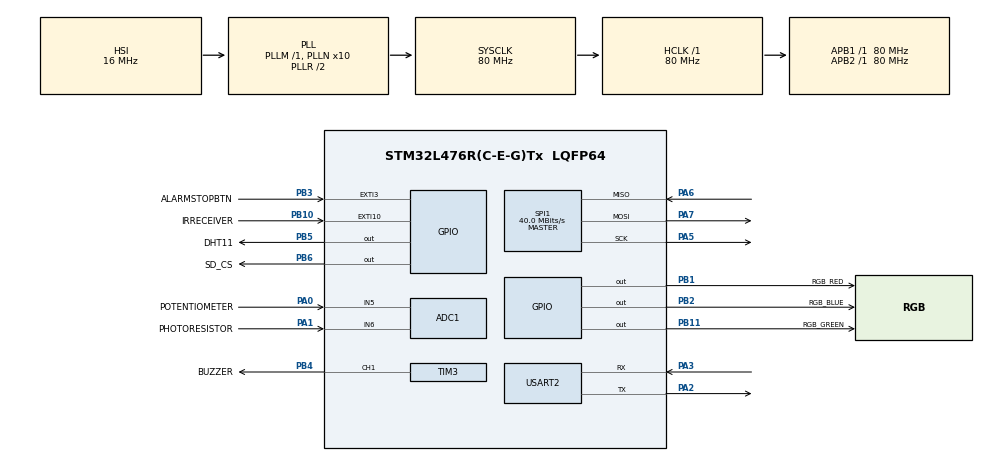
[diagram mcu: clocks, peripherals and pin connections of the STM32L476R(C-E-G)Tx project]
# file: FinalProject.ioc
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ADC1.Channel-1\#ChannelRegularConversion=ADC_CHANNEL_5
ADC1.NbrOfConversionFlag=1
ADC1.OffsetNumber-1\#ChannelRegularConversion=ADC_OFFSET_NONE
ADC1.Rank-1\#ChannelRegularConversion=1
ADC1.SamplingTime-1\#ChannelRegularConversion=ADC_SAMPLETIME_2CYCLES_5
ADC1.master=1
FATFS._MAX_LFN=32
FATFS._USE_LFN=2
FREERTOS.Mutexes01=xConfigMutex,Dynamic,NULL,Available;xLogMutex,Dynamic,NULL,Available;xMonitorCacheMutex,Dynamic,NULL,Available
FREERTOS.Queues01=xEventQueue,16,uint16_t,0,Dynamic,NULL,NULL;xKeepAliveTxQueue,16,uint16_t,0,Dynamic,NULL,NULL;xEventTxQueue,16,uint16_t,0,Dynamic,NULL,NULL;xDataReportTxQueue,16,uint16_t,0,Dynamic,NULL,NULL
FREERTOS.Tasks01=WatchdogTask,47,128,vWatchdogTask,Default,NULL,Dynamic,NULL,NULL;InitTask,44,128,vInitTask,Default,NULL,Dynamic,NULL,NULL;ObjectDetection,42,128,vObjectDetectionTask,Default,NULL,Dynamic,NULL,NULL;CommRxTask,41,512,vCommRxTask,Default,NULL,Dynamic,NULL,NULL;EventTask,37,512,vEventTask,Default,NULL,Dynamic,NULL,NULL;CommTxTask,32,512,vCommTxTask,Default,NULL,Dynamic,NULL,NULL;MonitorTask,33,512,vMonitorTask,Default,NULL,Dynamic,NULL,NULL;KeepAliveTask,24,256,vKeepAliveTask,Default,NULL,Dynamic,NULL,NULL
FREERTOS.configTOTAL_HEAP_SIZE=16384
FREERTOS.configUSE_NEWLIB_REENTRANT=1
IWDG.Prescaler=IWDG_PRESCALER_64
IWDG.Reload=1999
Mcu.Family=STM32L4
Mcu.Name=STM32L476R(C-E-G)Tx
Mcu.Package=LQFP64
NVIC.EXTI15_10_IRQn=true\:5\:0\:false\:false\:true\:true\:true\:true\:true
NVIC.EXTI3_IRQn=true\:5\:0\:false\:false\:true\:true\:true\:true\:true
NVIC.PriorityGroup=NVIC_PRIORITYGROUP_4
NVIC.TIM7_IRQn=true\:15\:0\:false\:false\:true\:false\:false\:true\:true
NVIC.TimeBase=TIM7_IRQn
NVIC.TimeBaseIP=TIM7
NVIC.USART2_IRQn=true\:5\:0\:false\:false\:true\:true\:true\:true\:true
PA0.GPIO_Label=POTENTIOMETER
PA0.Signal=ADCx_IN5
PA1.GPIO_Label=PHOTORESISTOR
PA1.Signal=ADCx_IN6
PA2.Mode=Asynchronous
PA2.Signal=USART2_TX
PA3.Mode=Asynchronous
PA3.Signal=USART2_RX
PA5.Mode=Full_Duplex_Master
PA5.Signal=SPI1_SCK
PA6.GPIO_PuPd=GPIO_PULLUP
PA6.Mode=Full_Duplex_Master
PA6.Signal=SPI1_MISO
PA7.Mode=Full_Duplex_Master
PA7.Signal=SPI1_MOSI
PB1.GPIO_Label=RGB_RED
PB1.Signal=GPIO_Output
PB10.GPIO_Label=IRRECEIVER
PB10.GPIO_ModeDefaultEXTI=GPIO_MODE_IT_RISING_FALLING
PB10.Signal=GPXTI10
PB11.GPIO_Label=RGB_GREEN
PB11.Signal=GPIO_Output
PB2.GPIO_Label=RGB_BLUE
PB2.Signal=GPIO_Output
PB3\ (JTDO-TRACESWO).GPIO_Label=ALARMSTOPBTN
PB3\ (JTDO-TRACESWO).GPIO_ModeDefaultEXTI=GPIO_MODE_IT_FALLING
PB3\ (JTDO-TRACESWO).GPIO_PuPd=GPIO_PULLUP
PB3\ (JTDO-TRACESWO).Signal=GPXTI3
PB4\ (NJTRST).GPIO_Label=BUZZER
PB4\ (NJTRST).Signal=S_TIM3_CH1
PB5.GPIO_Label=DHT11
PB5.GPIO_PuPd=GPIO_PULLUP
PB5.PinState=GPIO_PIN_SET
PB5.Signal=GPIO_Output
PB6.GPIO_Label=SD_CS
PB6.PinState=GPIO_PIN_SET
PB6.Signal=GPIO_Output
ProjectManager.HeapSize=0x200
ProjectManager.StackSize=0x400
ProjectManager.TargetToolchain=STM32CubeIDE
RCC.ADCFreq_Value=64000000
RCC.AHBFreq_Value=80000000
RCC.APB1Freq_Value=80000000
RCC.APB1TimFreq_Value=80000000
RCC.APB2Freq_Value=80000000
RCC.APB2TimFreq_Value=80000000
RCC.CortexFreq_Value=80000000
RCC.HCLKFreq_Value=80000000
RCC.HSE_VALUE=8000000
RCC.HSI_VALUE=16000000
RCC.LSE_VALUE=32768
RCC.MSI_VALUE=4000000
RCC.PLLN=10
RCC.PLLSourceVirtual=RCC_PLLSOURCE_HSI
RCC.SYSCLKFreq_VALUE=80000000
RCC.SYSCLKSource=RCC_SYSCLKSOURCE_PLLCLK
RCC.USBFreq_Value=64000000
RCC.VCOOutputFreq_Value=160000000
SH.ADCx_IN5.0=ADC1_IN5,IN5-Single-Ended
SH.ADCx_IN6.0=ADC1_IN6,IN6-Single-Ended
SH.S_TIM3_CH1.0=TIM3_CH1,PWM Generation1 CH1
SPI1.CalculateBaudRate=40.0 MBits/s
SPI1.DataSize=SPI_DATASIZE_8BIT
SPI1.Direction=SPI_DIRECTION_2LINES
SPI1.Mode=SPI_MODE_MASTER
SPI1.VirtualType=VM_MASTER
TIM3.Channel-PWM\ Generation1\ CH1=TIM_CHANNEL_1
TIM3.Period=499
TIM3.Prescaler=79
TIM3.Pulse-PWM\ Generation1\ CH1=25
TIM6.Prescaler=79
USART2.VirtualMode-Asynchronous=VM_ASYNC
VP_FATFS_VS_Generic.Mode=User_defined
VP_FREERTOS_VS_CMSIS_V2.Mode=CMSIS_V2
VP_IWDG_VS_IWDG.Mode=IWDG_Activate
VP_RTC_VS_RTC_Activate.Mode=RTC_Enabled
VP_RTC_VS_RTC_Calendar.Mode=RTC_Calendar
VP_SYS_VS_tim7.Mode=TIM7
VP_TIM6_VS_ClockSourceINT.Mode=Enable_Timer
board=custom

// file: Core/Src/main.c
/* USER CODE BEGIN Header */
/**
  ******************************************************************************
  * @file           : main.c
  * @brief          : Main program body
  ******************************************************************************
  * @attention
  *
  * Copyright (c) 2026 STMicroelectronics.
  * All rights reserved.
  *
  * This software is licensed under terms that can be found in the LICENSE file
  * in the root directory of this software component.
  * If no LICENSE file comes with this software, it is provided AS-IS.
  *
  ******************************************************************************
  */
/* USER CODE END Header */
#include "main.h"
#include "cmsis_os.h"
#include "fatfs.h"

/* USER CODE BEGIN Includes */
#include "transport.h"
#include "protocol.h"
#include "event.h"
#include "object_detection.h"
#include "config.h"
#include "log.h"
#include "rtc_util.h"
#include "comm.h"
#include "retrieval.h"

#include <stdbool.h>
#include <string.h>
/* USER CODE END Includes */

ADC_HandleTypeDef hadc1;

IWDG_HandleTypeDef hiwdg;

RTC_HandleTypeDef hrtc;

SPI_HandleTypeDef hspi1;

TIM_HandleTypeDef htim3;
TIM_HandleTypeDef htim6;

UART_HandleTypeDef huart2;

/* Definitions for WatchdogTask */
osThreadId_t WatchdogTaskHandle;
const osThreadAttr_t WatchdogTask_attributes = {
  .name = "WatchdogTask",
  .stack_size = 128 * 4,
  .priority = (osPriority_t) osPriorityHigh7,
};
/* Definitions for InitTask */
osThreadId_t InitTaskHandle;
const osThreadAttr_t InitTask_attributes = {
  .name = "InitTask",
  .stack_size = 128 * 4,
  .priority = (osPriority_t) osPriorityHigh4,
};
/* Definitions for ObjectDetection */
osThreadId_t ObjectDetectionHandle;
const osThreadAttr_t ObjectDetection_attributes = {
  .name = "ObjectDetection",
  .stack_size = 128 * 4,
  .priority = (osPriority_t) osPriorityHigh2,
};
/* Definitions for CommRxTask */
osThreadId_t CommRxTaskHandle;
const osThreadAttr_t CommRxTask_attributes = {
  .name = "CommRxTask",
  .stack_size = 512 * 4,
  .priority = (osPriority_t) osPriorityHigh1,
};
/* Definitions for EventTask */
osThreadId_t EventTaskHandle;
const osThreadAttr_t EventTask_attributes = {
  .name = "EventTask",
  .stack_size = 512 * 4,
  .priority = (osPriority_t) osPriorityAboveNormal5,
};
/* Definitions for CommTxTask */
osThreadId_t CommTxTaskHandle;
const osThreadAttr_t CommTxTask_attributes = {
  .name = "CommTxTask",
  .stack_size = 512 * 4,
  .priority = (osPriority_t) osPriorityAboveNormal,
};
/* Definitions for MonitorTask */
osThreadId_t MonitorTaskHandle;
const osThreadAttr_t MonitorTask_attributes = {
  .name = "MonitorTask",
  .stack_size = 512 * 4,
  .priority = (osPriority_t) osPriorityAboveNormal1,
};
/* Definitions for KeepAliveTask */
osThreadId_t KeepAliveTaskHandle;
const osThreadAttr_t KeepAliveTask_attributes = {
  .name = "KeepAliveTask",
  .stack_size = 256 * 4,
  .priority = (osPriority_t) osPriorityNormal,
};
/* Definitions for xEventQueue */
osMessageQueueId_t xEventQueueHandle;
const osMessageQueueAttr_t xEventQueue_attributes = {
  .name = "xEventQueue"
};
/* Definitions for xKeepAliveTxQueue */
osMessageQueueId_t xKeepAliveTxQueueHandle;
const osMessageQueueAttr_t xKeepAliveTxQueue_attributes = {
  .name = "xKeepAliveTxQueue"
};
/* Definitions for xEventTxQueue */
osMessageQueueId_t xEventTxQueueHandle;
const osMessageQueueAttr_t xEventTxQueue_attributes = {
  .name = "xEventTxQueue"
};
/* Definitions for xDataReportTxQueue */
osMessageQueueId_t xDataReportTxQueueHandle;
const osMessageQueueAttr_t xDataReportTxQueue_attributes = {
  .name = "xDataReportTxQueue"
};
/* Definitions for xConfigMutex */
osMutexId_t xConfigMutexHandle;
const osMutexAttr_t xConfigMutex_attributes = {
  .name = "xConfigMutex"
};
/* Definitions for xLogMutex */
osMutexId_t xLogMutexHandle;
const osMutexAttr_t xLogMutex_attributes = {
  .name = "xLogMutex"
};
/* Definitions for xMonitorCacheMutex */
osMutexId_t xMonitorCacheMutexHandle;
const osMutexAttr_t xMonitorCacheMutex_attributes = {
  .name = "xMonitorCacheMutex"
};
/* USER CODE BEGIN PV */
bool g_wasWatchdogReset = false;

/* USER CODE END PV */

void SystemClock_Config(void);
static void MX_GPIO_Init(void);
static void MX_USART2_UART_Init(void);
static void MX_ADC1_Init(void);
static void MX_TIM6_Init(void);
static void MX_TIM3_Init(void);
static void MX_SPI1_Init(void);
static void MX_RTC_Init(void);
static void MX_IWDG_Init(void);
void vWatchdogTask(void *argument);
void vInitTask(void *argument);
void vObjectDetectionTask(void *argument);
void vCommRxTask(void *argument);
void vEventTask(void *argument);
void vCommTxTask(void *argument);
void vMonitorTask(void *argument);
void vKeepAliveTask(void *argument);

int main(void)
{

  /* MCU Configuration--------------------------------------------------------*/

  /* Reset of all peripherals, Initializes the Flash interface and the Systick. */
  HAL_Init();

  /* Configure the system clock */
  SystemClock_Config();

  /* Initialize all configured peripherals */
  MX_GPIO_Init();
  MX_USART2_UART_Init();
  MX_ADC1_Init();
  MX_TIM6_Init();
  MX_TIM3_Init();
  MX_SPI1_Init();
  MX_FATFS_Init();
  MX_RTC_Init();
  MX_IWDG_Init();
  /* USER CODE BEGIN 2 */
  g_wasWatchdogReset = (__HAL_RCC_GET_FLAG(RCC_FLAG_IWDGRST) != RESET);
  __HAL_RCC_CLEAR_RESET_FLAGS();

  HAL_TIM_Base_Start(&htim6);

  f_mount(&USERFatFS, USERPath, 1);
  Log_Init();

  /* USER CODE END 2 */

  /* Init scheduler */
  osKernelInitialize();
  /* Create the mutex(es) */
  /* creation of xConfigMutex */
  xConfigMutexHandle = osMutexNew(&xConfigMutex_attributes);

  /* creation of xLogMutex */
  xLogMutexHandle = osMutexNew(&xLogMutex_attributes);

  /* creation of xMonitorCacheMutex */
  xMonitorCacheMutexHandle = osMutexNew(&xMonitorCacheMutex_attributes);

  /* Create the queue(s) */
  /* creation of xEventQueue */
  xEventQueueHandle = osMessageQueueNew (16, sizeof(uint16_t), &xEventQueue_attributes);

  /* creation of xKeepAliveTxQueue */
  xKeepAliveTxQueueHandle = osMessageQueueNew (16, sizeof(uint16_t), &xKeepAliveTxQueue_attributes);

  /* creation of xEventTxQueue */
  xEventTxQueueHandle = osMessageQueueNew (16, sizeof(uint16_t), &xEventTxQueue_attributes);

  /* creation of xDataReportTxQueue */
  xDataReportTxQueueHandle = osMessageQueueNew (16, sizeof(uint16_t), &xDataReportTxQueue_attributes);

  /* Create the thread(s) */
  /* creation of WatchdogTask */
  WatchdogTaskHandle = osThreadNew(vWatchdogTask, NULL, &WatchdogTask_attributes);

  /* creation of InitTask */
  InitTaskHandle = osThreadNew(vInitTask, NULL, &InitTask_attributes);

  /* creation of ObjectDetection */
  ObjectDetectionHandle = osThreadNew(vObjectDetectionTask, NULL, &ObjectDetection_attributes);

  /* creation of CommRxTask */
  CommRxTaskHandle = osThreadNew(vCommRxTask, NULL, &CommRxTask_attributes);

  /* creation of EventTask */
  EventTaskHandle = osThreadNew(vEventTask, NULL, &EventTask_attributes);

  /* creation of CommTxTask */
  CommTxTaskHandle = osThreadNew(vCommTxTask, NULL, &CommTxTask_attributes);

  /* creation of MonitorTask */
  MonitorTaskHandle = osThreadNew(vMonitorTask, NULL, &MonitorTask_attributes);

  /* creation of KeepAliveTask */
  KeepAliveTaskHandle = osThreadNew(vKeepAliveTask, NULL, &KeepAliveTask_attributes);

  /* Start scheduler */
  osKernelStart();

  /* We should never get here as control is now taken by the scheduler */

  /* Infinite loop */
  while (1)
  {

  }
}

void SystemClock_Config(void)
{
  RCC_OscInitTypeDef RCC_OscInitStruct = {0};
  RCC_ClkInitTypeDef RCC_ClkInitStruct = {0};

  /** Configure the main internal regulator output voltage
  */
  if (HAL_PWREx_ControlVoltageScaling(PWR_REGULATOR_VOLTAGE_SCALE1) != HAL_OK)
  {
    Error_Handler();
  }

  /** Initializes the RCC Oscillators according to the specified parameters
  * in the RCC_OscInitTypeDef structure.
  */
  RCC_OscInitStruct.OscillatorType = RCC_OSCILLATORTYPE_HSI|RCC_OSCILLATORTYPE_LSI;
  RCC_OscInitStruct.HSIState = RCC_HSI_ON;
  RCC_OscInitStruct.HSICalibrationValue = RCC_HSICALIBRATION_DEFAULT;
  RCC_OscInitStruct.LSIState = RCC_LSI_ON;
  RCC_OscInitStruct.PLL.PLLState = RCC_PLL_ON;
  RCC_OscInitStruct.PLL.PLLSource = RCC_PLLSOURCE_HSI;
  RCC_OscInitStruct.PLL.PLLM = 1;
  RCC_OscInitStruct.PLL.PLLN = 10;
  RCC_OscInitStruct.PLL.PLLP = RCC_PLLP_DIV7;
  RCC_OscInitStruct.PLL.PLLQ = RCC_PLLQ_DIV2;
  RCC_OscInitStruct.PLL.PLLR = RCC_PLLR_DIV2;
  if (HAL_RCC_OscConfig(&RCC_OscInitStruct) != HAL_OK)
  {
    Error_Handler();
  }

  /** Initializes the CPU, AHB and APB buses clocks
  */
  RCC_ClkInitStruct.ClockType = RCC_CLOCKTYPE_HCLK|RCC_CLOCKTYPE_SYSCLK
                              |RCC_CLOCKTYPE_PCLK1|RCC_CLOCKTYPE_PCLK2;
  RCC_ClkInitStruct.SYSCLKSource = RCC_SYSCLKSOURCE_PLLCLK;
  RCC_ClkInitStruct.AHBCLKDivider = RCC_SYSCLK_DIV1;
  RCC_ClkInitStruct.APB1CLKDivider = RCC_HCLK_DIV1;
  RCC_ClkInitStruct.APB2CLKDivider = RCC_HCLK_DIV1;

  if (HAL_RCC_ClockConfig(&RCC_ClkInitStruct, FLASH_LATENCY_4) != HAL_OK)
  {
    Error_Handler();
  }
}

static void MX_ADC1_Init(void)
{

  ADC_MultiModeTypeDef multimode = {0};
  ADC_ChannelConfTypeDef sConfig = {0};

  /** Common config
  */
  hadc1.Instance = ADC1;
  hadc1.Init.ClockPrescaler = ADC_CLOCK_ASYNC_DIV1;
  hadc1.Init.Resolution = ADC_RESOLUTION_12B;
  hadc1.Init.DataAlign = ADC_DATAALIGN_RIGHT;
  hadc1.Init.ScanConvMode = ADC_SCAN_DISABLE;
  hadc1.Init.EOCSelection = ADC_EOC_SINGLE_CONV;
  hadc1.Init.LowPowerAutoWait = DISABLE;
  hadc1.Init.ContinuousConvMode = DISABLE;
  hadc1.Init.NbrOfConversion = 1;
  hadc1.Init.DiscontinuousConvMode = DISABLE;
  hadc1.Init.ExternalTrigConv = ADC_SOFTWARE_START;
  hadc1.Init.ExternalTrigConvEdge = ADC_EXTERNALTRIGCONVEDGE_NONE;
  hadc1.Init.DMAContinuousRequests = DISABLE;
  hadc1.Init.Overrun = ADC_OVR_DATA_PRESERVED;
  hadc1.Init.OversamplingMode = DISABLE;
  if (HAL_ADC_Init(&hadc1) != HAL_OK)
  {
    Error_Handler();
  }

  /** Configure the ADC multi-mode
  */
  multimode.Mode = ADC_MODE_INDEPENDENT;
  if (HAL_ADCEx_MultiModeConfigChannel(&hadc1, &multimode) != HAL_OK)
  {
    Error_Handler();
  }

  /** Configure Regular Channel
  */
  sConfig.Channel = ADC_CHANNEL_5;
  sConfig.Rank = ADC_REGULAR_RANK_1;
  sConfig.SamplingTime = ADC_SAMPLETIME_2CYCLES_5;
  sConfig.SingleDiff = ADC_SINGLE_ENDED;
  sConfig.OffsetNumber = ADC_OFFSET_NONE;
  sConfig.Offset = 0;
  if (HAL_ADC_ConfigChannel(&hadc1, &sConfig) != HAL_OK)
  {
    Error_Handler();
  }

}

static void MX_IWDG_Init(void)
{

  hiwdg.Instance = IWDG;
  hiwdg.Init.Prescaler = IWDG_PRESCALER_64;
  hiwdg.Init.Window = 4095;
  hiwdg.Init.Reload = 1999;
  if (HAL_IWDG_Init(&hiwdg) != HAL_OK)
  {
    Error_Handler();
  }

}

static void MX_RTC_Init(void)
{

  RTC_TimeTypeDef sTime = {0};
  RTC_DateTypeDef sDate = {0};

  /** Initialize RTC Only
  */
  hrtc.Instance = RTC;
  hrtc.Init.HourFormat = RTC_HOURFORMAT_24;
  hrtc.Init.AsynchPrediv = 127;
  hrtc.Init.SynchPrediv = 255;
  hrtc.Init.OutPut = RTC_OUTPUT_DISABLE;
  hrtc.Init.OutPutRemap = RTC_OUTPUT_REMAP_NONE;
  hrtc.Init.OutPutPolarity = RTC_OUTPUT_POLARITY_HIGH;
  hrtc.Init.OutPutType = RTC_OUTPUT_TYPE_OPENDRAIN;
  if (HAL_RTC_Init(&hrtc) != HAL_OK)
  {
    Error_Handler();
  }

  /** Initialize RTC and set the Time and Date
  */
  sTime.Hours = 0x0;
  sTime.Minutes = 0x0;
  sTime.Seconds = 0x0;
  sTime.DayLightSaving = RTC_DAYLIGHTSAVING_NONE;
  sTime.StoreOperation = RTC_STOREOPERATION_RESET;
  if (HAL_RTC_SetTime(&hrtc, &sTime, RTC_FORMAT_BCD) != HAL_OK)
  {
    Error_Handler();
  }
  sDate.WeekDay = RTC_WEEKDAY_MONDAY;
  sDate.Month = RTC_MONTH_JANUARY;
  sDate.Date = 0x1;
  sDate.Year = 0x0;

  if (HAL_RTC_SetDate(&hrtc, &sDate, RTC_FORMAT_BCD) != HAL_OK)
  {
    Error_Handler();
  }

}

static void MX_SPI1_Init(void)
{

  /* SPI1 parameter configuration*/
  hspi1.Instance = SPI1;
  hspi1.Init.Mode = SPI_MODE_MASTER;
  hspi1.Init.Direction = SPI_DIRECTION_2LINES;
  hspi1.Init.DataSize = SPI_DATASIZE_8BIT;
  hspi1.Init.CLKPolarity = SPI_POLARITY_LOW;
  hspi1.Init.CLKPhase = SPI_PHASE_1EDGE;
  hspi1.Init.NSS = SPI_NSS_SOFT;
  hspi1.Init.BaudRatePrescaler = SPI_BAUDRATEPRESCALER_2;
  hspi1.Init.FirstBit = SPI_FIRSTBIT_MSB;
  hspi1.Init.TIMode = SPI_TIMODE_DISABLE;
  hspi1.Init.CRCCalculation = SPI_CRCCALCULATION_DISABLE;
  hspi1.Init.CRCPolynomial = 7;
  hspi1.Init.CRCLength = SPI_CRC_LENGTH_DATASIZE;
  hspi1.Init.NSSPMode = SPI_NSS_PULSE_ENABLE;
  if (HAL_SPI_Init(&hspi1) != HAL_OK)
  {
    Error_Handler();
  }

}

static void MX_TIM3_Init(void)
{

  TIM_MasterConfigTypeDef sMasterConfig = {0};
  TIM_OC_InitTypeDef sConfigOC = {0};

  htim3.Instance = TIM3;
  htim3.Init.Prescaler = 79;
  htim3.Init.CounterMode = TIM_COUNTERMODE_UP;
  htim3.Init.Period = 499;
  htim3.Init.ClockDivision = TIM_CLOCKDIVISION_DIV1;
  htim3.Init.AutoReloadPreload = TIM_AUTORELOAD_PRELOAD_DISABLE;
  if (HAL_TIM_PWM_Init(&htim3) != HAL_OK)
  {
    Error_Handler();
  }
  sMasterConfig.MasterOutputTrigger = TIM_TRGO_RESET;
  sMasterConfig.MasterSlaveMode = TIM_MASTERSLAVEMODE_DISABLE;
  if (HAL_TIMEx_MasterConfigSynchronization(&htim3, &sMasterConfig) != HAL_OK)
  {
    Error_Handler();
  }
  sConfigOC.OCMode = TIM_OCMODE_PWM1;
  sConfigOC.Pulse = 25;
  sConfigOC.OCPolarity = TIM_OCPOLARITY_HIGH;
  sConfigOC.OCFastMode = TIM_OCFAST_DISABLE;
  if (HAL_TIM_PWM_ConfigChannel(&htim3, &sConfigOC, TIM_CHANNEL_1) != HAL_OK)
  {
    Error_Handler();
  }
  HAL_TIM_MspPostInit(&htim3);

}

static void MX_TIM6_Init(void)
{

  TIM_MasterConfigTypeDef sMasterConfig = {0};

  htim6.Instance = TIM6;
  htim6.Init.Prescaler = 79;
  htim6.Init.CounterMode = TIM_COUNTERMODE_UP;
  htim6.Init.Period = 65535;
  htim6.Init.AutoReloadPreload = TIM_AUTORELOAD_PRELOAD_DISABLE;
  if (HAL_TIM_Base_Init(&htim6) != HAL_OK)
  {
    Error_Handler();
  }
  sMasterConfig.MasterOutputTrigger = TIM_TRGO_RESET;
  sMasterConfig.MasterSlaveMode = TIM_MASTERSLAVEMODE_DISABLE;
  if (HAL_TIMEx_MasterConfigSynchronization(&htim6, &sMasterConfig) != HAL_OK)
  {
    Error_Handler();
  }

}

static void MX_USART2_UART_Init(void)
{

  huart2.Instance = USART2;
  huart2.Init.BaudRate = 115200;
  huart2.Init.WordLength = UART_WORDLENGTH_8B;
  huart2.Init.StopBits = UART_STOPBITS_1;
  huart2.Init.Parity = UART_PARITY_NONE;
  huart2.Init.Mode = UART_MODE_TX_RX;
  huart2.Init.HwFlowCtl = UART_HWCONTROL_NONE;
  huart2.Init.OverSampling = UART_OVERSAMPLING_16;
  huart2.Init.OneBitSampling = UART_ONE_BIT_SAMPLE_DISABLE;
  huart2.AdvancedInit.AdvFeatureInit = UART_ADVFEATURE_NO_INIT;
  if (HAL_UART_Init(&huart2) != HAL_OK)
  {
    Error_Handler();
  }

}

static void MX_GPIO_Init(void)
{
  GPIO_InitTypeDef GPIO_InitStruct = {0};

  /* GPIO Ports Clock Enable */
  __HAL_RCC_GPIOA_CLK_ENABLE();
  __HAL_RCC_GPIOB_CLK_ENABLE();

  /*Configure GPIO pin Output Level */
  HAL_GPIO_WritePin(GPIOB, RGB_RED_Pin|RGB_BLUE_Pin|RGB_GREEN_Pin, GPIO_PIN_RESET);

  /*Configure GPIO pin Output Level */
  HAL_GPIO_WritePin(GPIOB, DHT11_Pin|SD_CS_Pin, GPIO_PIN_SET);

  /*Configure GPIO pins : RGB_RED_Pin RGB_BLUE_Pin RGB_GREEN_Pin SD_CS_Pin */
  GPIO_InitStruct.Pin = RGB_RED_Pin|RGB_BLUE_Pin|RGB_GREEN_Pin|SD_CS_Pin;
  GPIO_InitStruct.Mode = GPIO_MODE_OUTPUT_PP;
  GPIO_InitStruct.Pull = GPIO_NOPULL;
  GPIO_InitStruct.Speed = GPIO_SPEED_FREQ_LOW;
  HAL_GPIO_Init(GPIOB, &GPIO_InitStruct);

  /*Configure GPIO pin : IRRECEIVER_Pin */
  GPIO_InitStruct.Pin = IRRECEIVER_Pin;
  GPIO_InitStruct.Mode = GPIO_MODE_IT_RISING_FALLING;
  GPIO_InitStruct.Pull = GPIO_NOPULL;
  HAL_GPIO_Init(IRRECEIVER_GPIO_Port, &GPIO_InitStruct);

  /*Configure GPIO pin : ALARMSTOPBTN_Pin */
  GPIO_InitStruct.Pin = ALARMSTOPBTN_Pin;
  GPIO_InitStruct.Mode = GPIO_MODE_IT_FALLING;
  GPIO_InitStruct.Pull = GPIO_PULLUP;
  HAL_GPIO_Init(ALARMSTOPBTN_GPIO_Port, &GPIO_InitStruct);

  /*Configure GPIO pin : DHT11_Pin */
  GPIO_InitStruct.Pin = DHT11_Pin;
  GPIO_InitStruct.Mode = GPIO_MODE_OUTPUT_PP;
  GPIO_InitStruct.Pull = GPIO_PULLUP;
  GPIO_InitStruct.Speed = GPIO_SPEED_FREQ_LOW;
  HAL_GPIO_Init(DHT11_GPIO_Port, &GPIO_InitStruct);

  /* EXTI interrupt init*/
  HAL_NVIC_SetPriority(EXTI3_IRQn, 5, 0);
  HAL_NVIC_EnableIRQ(EXTI3_IRQn);

  HAL_NVIC_SetPriority(EXTI15_10_IRQn, 5, 0);
  HAL_NVIC_EnableIRQ(EXTI15_10_IRQn);

}

/* USER CODE BEGIN 4 */
/**
 * @brief Handle a GET_TIME_REQ: replies with GET_TIME_RESP carrying the
 * current value of g_lncClock.
 */

static void CommRx_HandleGetTime(void)
{
    uint8_t valueBuf[4];
    Protocol_PutU32(valueBuf, RtcUtil_GetUnixTime());

    uint8_t message[16];
    uint16_t messageLen;
    Protocol_EncodeTLV(PROTO_TAG_GET_TIME_RESP, valueBuf, 4, message, sizeof(message), &messageLen);

    uint8_t framed[40];
    uint16_t framedLen;
    Frame_Encode(message, messageLen, framed, sizeof(framed), &framedLen);
    Comm_SendEvent(framed, framedLen);
}

/**
 * @brief Handle a SET_RTC_REQ: overwrites g_lncClock with the request's
 * TIMESTAMP value, replies with CONFIG_ACK.
 * @param value Request's Value (a single TIMESTAMP field).
 * @param valueLen Length of value.
 */
static void CommRx_HandleSetRtc(const uint8_t *value, uint16_t valueLen)
{
    ProtoStatus_t status = PROTO_STATUS_SUCCESS;

    if (valueLen >= 4) {
        uint32_t unixTime;
        Protocol_GetU32(value, &unixTime);
        RtcUtil_SetFromUnixTime(unixTime);

    } else {
        status = PROTO_STATUS_INTERNAL_ERROR; /* malformed request value */
    }

    uint8_t valueBuf[1];
    valueBuf[0] = (uint8_t)status;

    uint8_t message[16];
    uint16_t messageLen;
    Protocol_EncodeTLV(PROTO_TAG_CONFIG_ACK, valueBuf, 1, message, sizeof(message), &messageLen);

    uint8_t framed[40];
    uint16_t framedLen;
    Frame_Encode(message, messageLen, framed, sizeof(framed), &framedLen);
    Comm_SendEvent(framed, framedLen);
}

static void CommRx_HandleSetConfig(uint8_t tag, const uint8_t *value, uint16_t valueLen)
{
    ProtoStatus_t status = Config_ApplyUpdate(tag, value, valueLen);

    uint8_t valueBuf[1];
    valueBuf[0] = (uint8_t)status;

    uint8_t message[16];
    uint16_t messageLen;
    Protocol_EncodeTLV(PROTO_TAG_CONFIG_ACK, valueBuf, 1, message, sizeof(message), &messageLen);

    uint8_t framed[40];
    uint16_t framedLen;
    Frame_Encode(message, messageLen, framed, sizeof(framed), &framedLen);
    Comm_SendEvent(framed, framedLen);
}

void HAL_GPIO_EXTI_Callback(uint16_t GPIO_Pin)
{
    if (GPIO_Pin == IRRECEIVER_Pin) {
        ObjectDetection_NotifyActivity();
    } else if (GPIO_Pin == ALARMSTOPBTN_Pin) {
        HAL_TIM_PWM_Stop(&htim3, TIM_CHANNEL_1);
    }
}

/* USER CODE END 4 */

void vWatchdogTask(void *argument)
{
  /* USER CODE BEGIN 5 */
	(void)argument;
  /* Infinite loop */
	  for (;;)
	  {
	    HAL_IWDG_Refresh(&hiwdg);
	    osDelay(500);
	  }
  /* USER CODE END 5 */
}

void vInitTask(void *argument)
{
  /* USER CODE BEGIN vInitTask */
    (void)argument;
  /* Infinite loop */
    Config_LoadFromFlash();

    Event_PostStartup(g_wasWatchdogReset);

    for(;;)
    {
        osDelay(1);
    }
  /* USER CODE END vInitTask */
}

void vObjectDetectionTask(void *argument)
{
  /* USER CODE BEGIN vObjectDetectionTask */
	(void)argument;
  /* Infinite loop */
    for (;;)
    {
        bool detected;
        bool changed = ObjectDetection_Poll(&detected);
        if (changed) {
            Event_PostObjectDetection(detected);
        }
        osDelay(200);
    }
  /* USER CODE END vObjectDetectionTask */
}

void vCommRxTask(void *argument)
{
  /* USER CODE BEGIN vCommRxTask */
  /* Infinite loop */
    (void)argument;
    Transport_Init();

    uint8_t rxBuf[64];
    uint16_t rxLen = 0;

    for (;;)
    {
        uint16_t n = Transport_Recv(rxBuf + rxLen, (uint16_t)(sizeof(rxBuf) - rxLen));
        rxLen = (uint16_t)(rxLen + n);

        if (rxLen > 0) {
            uint8_t payload[64];
            uint16_t payloadLen, consumed;
            ProtoResult_t r = Frame_Decode(rxBuf, rxLen, payload, sizeof(payload), &payloadLen, &consumed);

            if (r == PROTO_OK) {
                uint8_t tag;
                const uint8_t *value;
                uint16_t valueLen, msgConsumed;

                if (Protocol_DecodeTLV(payload, payloadLen, &tag, &value, &valueLen, &msgConsumed) == PROTO_OK) {
                    if (tag == PROTO_TAG_GET_TIME_REQ) {
                        CommRx_HandleGetTime();
                    }else if (tag == PROTO_TAG_SET_RTC_REQ) {
                        CommRx_HandleSetRtc(value, valueLen);
                    }else if (tag == PROTO_TAG_GET_MEASUREMENTS_REQ) {
                        Retrieval_HandleGetMeasurements(value, valueLen);
                    }else if (tag == PROTO_TAG_GET_EVENTS_REQ) {
                        Retrieval_HandleGetEvents(value, valueLen);
                    }else if (tag >= PROTO_TAG_SET_TEMP_NORMAL_RANGE && tag <= PROTO_TAG_SET_BATTERY_WARNING_MIN) {
                        CommRx_HandleSetConfig(tag, value, valueLen);
                    }

                }

                memmove(rxBuf, rxBuf + consumed, (size_t)(rxLen - consumed));
                rxLen = (uint16_t)(rxLen - consumed);
            } else if (r == PROTO_ERR_MALFORMED) {
                memmove(rxBuf, rxBuf + consumed, (size_t)(rxLen - consumed));
                rxLen = (uint16_t)(rxLen - consumed);
            } else if (r == PROTO_ERR_BUFFER_TOO_SMALL) {
                rxLen = 0;
            }
        }

        osDelay(10);
    }
  /* USER CODE END vCommRxTask */
}

void vEventTask(void *argument)
{
  /* USER CODE BEGIN vEventTask */
    (void)argument;

    /* Infinite loop */

    for (;;)
    {
        uint16_t slotIndex;
        if (osMessageQueueGet(xEventQueueHandle, &slotIndex, NULL, osWaitForever) == osOK) {
            EventMessage_t event;
            Event_GetPooled(slotIndex, &event);
            Log_WriteEvent(&event);

            if (event.source == PROTO_EVENT_SOURCE_MONITOR && event.type == PROTO_EVENT_TYPE_MODE_CHANGE) {
                Event_HandleModeChange(&event);

            }else if (event.source == PROTO_EVENT_SOURCE_OBJECT_DETECTION) {
                Event_HandleObjectDetection(&event);
            }else if (event.source == PROTO_EVENT_SOURCE_INIT) {
                Event_HandleStartup(&event);
            }

        }
    }
  /* USER CODE END vEventTask */
}

void vCommTxTask(void *argument)
{
  /* USER CODE BEGIN vCommTxTask */

	(void)argument;
  /* Infinite loop */
	Comm_RunTxTask();
  /* USER CODE END vCommTxTask */
}

void vMonitorTask(void *argument)
{
  /* USER CODE BEGIN vMonitorTask */
    (void)argument;
  /* Infinite loop */

    for (;;)
    {

        bool changed = Monitor_Sample();

        MonitorData_t data;
        Monitor_GetLatest(&data);
        Log_WriteMeasurement(&data);

        if (changed) {
            Event_PostModeChange(data.mode, &data);
        }
        osDelay(5000);
    }
  /* USER CODE END vMonitorTask */
}

/* USER CODE BEGIN Header_vKeepAliveTask */
/**
 * @brief Periodically builds and sends a KEEP_ALIVE message with dummy
 * measurement values, every 6 seconds (Phase 7, PROJECT_PLAN.md §5.1/§6).
 * Sends directly via Transport_Send — the priority-queue TX architecture
 * (xKeepAliveTxQueue/vCommTxTask) is deferred to a later phase, once more
 * than one message source needs to arbitrate for the link.
 * @param argument Unused (required by the osThreadFunc_t signature).
 */
/* USER CODE END Header_vKeepAliveTask */
void vKeepAliveTask(void *argument)
{
  /* USER CODE BEGIN vKeepAliveTask */
  /* Infinite loop */
	(void)argument;

	for (;;)
	{
	    MonitorData_t data;
	    Monitor_GetLatest(&data);

	    uint8_t valueBuf[4];
	    uint16_t written;

	    uint8_t measurement[40];
	    uint16_t measurementLen = 0;

	    Protocol_PutU32(valueBuf, data.timestamp);
	    Protocol_EncodeTLV(PROTO_FIELD_TIMESTAMP, valueBuf, 4,
	                            measurement + measurementLen, (uint16_t)(sizeof(measurement) - measurementLen), &written);
	    measurementLen = (uint16_t)(measurementLen + written);

	    Protocol_PutU16(valueBuf, (uint16_t)data.temperature);
	    Protocol_EncodeTLV(PROTO_FIELD_TEMPERATURE, valueBuf, 2,
	                            measurement + measurementLen, (uint16_t)(sizeof(measurement) - measurementLen), &written);
	    measurementLen = (uint16_t)(measurementLen + written);

	    valueBuf[0] = data.humidity;
	    Protocol_EncodeTLV(PROTO_FIELD_HUMIDITY, valueBuf, 1,
	                            measurement + measurementLen, (uint16_t)(sizeof(measurement) - measurementLen), &written);
	    measurementLen = (uint16_t)(measurementLen + written);

	    Protocol_PutU16(valueBuf, data.light);
	    Protocol_EncodeTLV(PROTO_FIELD_LIGHT, valueBuf, 2,
	                            measurement + measurementLen, (uint16_t)(sizeof(measurement) - measurementLen), &written);
	    measurementLen = (uint16_t)(measurementLen + written);

	    Protocol_PutU16(valueBuf, data.batteryVoltage);
	    Protocol_EncodeTLV(PROTO_FIELD_BATTERY_VOLTAGE, valueBuf, 2,
	                            measurement + measurementLen, (uint16_t)(sizeof(measurement) - measurementLen), &written);
	    measurementLen = (uint16_t)(measurementLen + written);

	    valueBuf[0] = (uint8_t)data.mode;
	    Protocol_EncodeTLV(PROTO_FIELD_MODE, valueBuf, 1,
	                            measurement + measurementLen, (uint16_t)(sizeof(measurement) - measurementLen), &written);
	    measurementLen = (uint16_t)(measurementLen + written);

	    uint8_t payload[64];
	    uint16_t payloadLen = 0;

	    Protocol_PutU32(valueBuf, data.timestamp);
	    Protocol_EncodeTLV(PROTO_FIELD_TIMESTAMP, valueBuf, 4,
	                      payload + payloadLen, (uint16_t)(sizeof(payload) - payloadLen), &written);
	    payloadLen = (uint16_t)(payloadLen + written);

	   Protocol_EncodeTLV(PROTO_FIELD_MEASUREMENT_RECORD, measurement, measurementLen,
	                      payload + payloadLen, (uint16_t)(sizeof(payload) - payloadLen), &written);
	   payloadLen = (uint16_t)(payloadLen + written);

	   valueBuf[0] = (uint8_t)data.mode;
	   Protocol_EncodeTLV(PROTO_FIELD_MODE, valueBuf, 1,
	                      payload + payloadLen, (uint16_t)(sizeof(payload) - payloadLen), &written);
	   payloadLen = (uint16_t)(payloadLen + written);

	   uint8_t message[80];
	   uint16_t messageLen;
	   Protocol_EncodeTLV(PROTO_TAG_KEEP_ALIVE, payload, payloadLen, message, sizeof(message), &messageLen);

	   uint8_t framed[200];
	   uint16_t framedLen;
	   Frame_Encode(message, messageLen, framed, sizeof(framed), &framedLen);
	   Comm_SendKeepAlive(framed, framedLen);

	   osDelay(6000);
	}
  /* USER CODE END vKeepAliveTask */
}

void HAL_TIM_PeriodElapsedCallback(TIM_HandleTypeDef *htim)
{
  if (htim->Instance == TIM7)
  {
    HAL_IncTick();
  }
}

void Error_Handler(void)
{
  __disable_irq();
  while (1)
  {
  }
}
